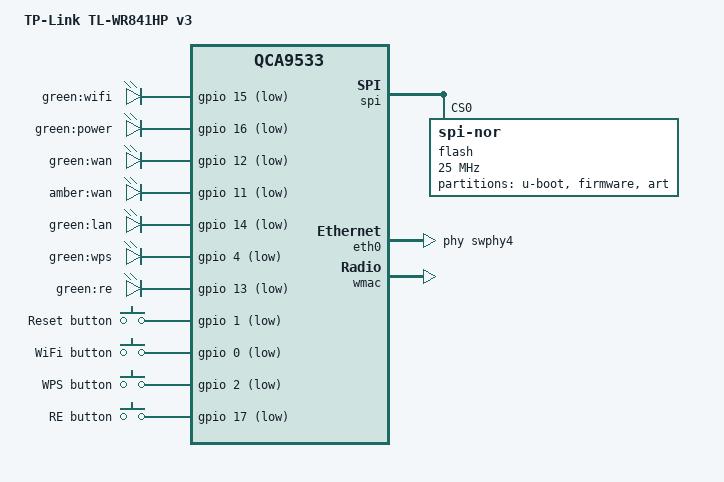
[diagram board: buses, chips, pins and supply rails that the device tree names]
// SPDX-License-Identifier: GPL-2.0-or-later OR MIT

#include "qca953x.dtsi"

#include <dt-bindings/gpio/gpio.h>
#include <dt-bindings/input/input.h>

/ {
	compatible = "tplink,tl-wr841hp-v3", "qca,qca9533";
	model = "TP-Link TL-WR841HP v3";

	aliases {
		label-mac-device = &wmac;
		led-boot = &led_power;
		led-failsafe = &led_power;
		led-running = &led_power;
		led-upgrade = &led_power;
	};

	leds {
		compatible = "gpio-leds";

		wifi {
			label = "green:wifi";
			gpios = <&gpio 15 GPIO_ACTIVE_LOW>;
			linux,default-trigger = "phy0tpt";
		};

		led_power: power {
			label = "green:power";
			gpios = <&gpio 16 GPIO_ACTIVE_LOW>;
			default-state = "on";
		};

		wan_green {
			label = "green:wan";
			gpios = <&gpio 12 GPIO_ACTIVE_LOW>;
		};

		wan_amber {
			label = "amber:wan";
			gpios = <&gpio 11 GPIO_ACTIVE_LOW>;
		};

		lan {
			label = "green:lan";
			gpios = <&gpio 14 GPIO_ACTIVE_LOW>;
		};

		wps {
			label = "green:wps";
			gpios = <&gpio 4 GPIO_ACTIVE_LOW>;
		};

		re {
			label = "green:re";
			gpios = <&gpio 13 GPIO_ACTIVE_LOW>;
		};
	};

	keys {
		compatible = "gpio-keys";

		reset {
			label = "Reset button";
			linux,code = <KEY_RESTART>;
			gpios = <&gpio 1 GPIO_ACTIVE_LOW>;
			debounce-interval = <60>;
		};

		wifi {
			label = "WiFi button";
			linux,code = <KEY_RFKILL>;
			gpios = <&gpio 0 GPIO_ACTIVE_LOW>;
			debounce-interval = <60>;
		};

		wps {
			label = "WPS button";
			linux,code = <KEY_WPS_BUTTON>;
			gpios = <&gpio 2 GPIO_ACTIVE_LOW>;
			debounce-interval = <60>;
		};

		re {
			label = "RE button";
			linux,code = <BTN_0>;
			gpios = <&gpio 17 GPIO_ACTIVE_LOW>;
			debounce-interval = <60>;
		};
	};
};

&spi {
	status = "okay";

	flash@0 {
		compatible = "jedec,spi-nor";
		reg = <0>;
		spi-max-frequency = <25000000>;

		partitions {
			compatible = "fixed-partitions";
			#address-cells = <1>;
			#size-cells = <1>;

			uboot: partition@0 {
				label = "u-boot";
				reg = <0x000000 0x020000>;
				read-only;
			};

			partition@20000 {
				compatible = "tplink,firmware";
				label = "firmware";
				reg = <0x020000 0x7d0000>;
			};

			art: partition@7f0000 {
				label = "art";
				reg = <0x7f0000 0x010000>;
				read-only;
			};
		};
	};
};

&eth0 {
	status = "okay";

	phy-handle = <&swphy4>;

	nvmem-cells = <&macaddr_uboot_1fc00>;
	nvmem-cell-names = "mac-address";
	mac-address-increment = <1>;
};

&eth1 {
	nvmem-cells = <&macaddr_uboot_1fc00>;
	nvmem-cell-names = "mac-address";
};

&wmac {
	status = "okay";

	mtd-cal-data = <&art 0x1000>;
	nvmem-cells = <&macaddr_uboot_1fc00>;
	nvmem-cell-names = "mac-address";
};

&uboot {
	compatible = "nvmem-cells";
	#address-cells = <1>;
	#size-cells = <1>;

	macaddr_uboot_1fc00: macaddr@1fc00 {
		reg = <0x1fc00 0x6>;
	};
};
